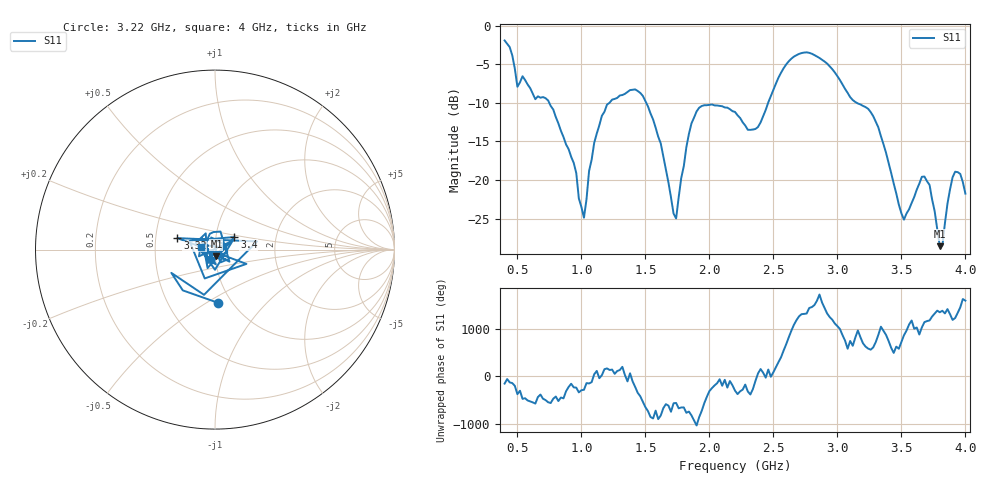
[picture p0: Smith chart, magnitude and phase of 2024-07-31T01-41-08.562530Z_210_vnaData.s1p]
!Created with skrf (http://scikit-rf.org).
# Hz S RI R 50.0
!freq ReS11 ImS11
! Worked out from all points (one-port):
!   181 points, 400 MHz to 4 GHz, reference 50 ohm
!   lowest |S11| = -28.6 dB at 3.8 GHz (marker M1), VSWR 1.08, Z = 50.6 - j3.69 ohm
!   |S11| at or under -10 dB: 749 MHz to 1.219 GHz (469.8 MHz wide, 47.8 % of centre); 1.507 GHz to 2.459 GHz (951.8 MHz wide, 48 % of centre); 3.152 GHz to end of sweep
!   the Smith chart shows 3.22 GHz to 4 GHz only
!   S11 on the Smith chart (normalised r, x): 3.22 GHz: 0.87, -0.56; 3.32 GHz: 0.65, +0.09; 3.4 GHz: 1.23, +0.18; 4 GHz: 0.85, +0.03
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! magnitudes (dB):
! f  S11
! 400 MHz  -1.9
! 500 MHz  -7.9
! 740 MHz  -9.7
! 860 MHz  -14.4
! 1.02 GHz  -24.9
! 1.06 GHz  -18.8
! 1.16 GHz  -11.7
! 1.3 GHz  -9.0
! 1.48 GHz  -9.1
! 1.62 GHz  -15.3
! 1.72 GHz  -24.4
! 1.76 GHz  -22.3
! 1.9 GHz  -11.1
! 2.2 GHz  -11.2
! 2.38 GHz  -13.1
! 2.66 GHz  -4.0
! 2.88 GHz  -4.4
! 3.1 GHz  -9.3
! 3.22 GHz  -10.5
! 3.32 GHz  -13.2
! 3.4 GHz  -17.8
! 3.52 GHz  -25.1
! 3.56 GHz  -23.8
! 3.68 GHz  -19.6
! 3.72 GHz  -20.6
! 3.8 GHz  -28.6
! 3.92 GHz  -18.9
! 4 GHz  -21.8
